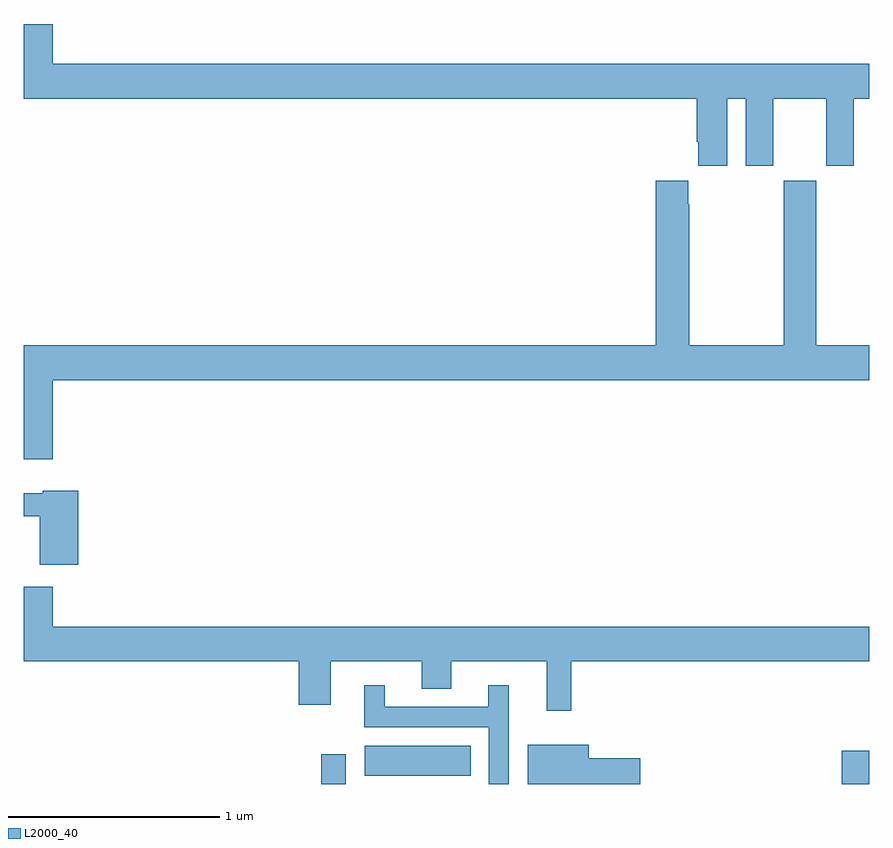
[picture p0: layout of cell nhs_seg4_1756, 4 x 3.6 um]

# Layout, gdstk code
import gdstk
lib = gdstk.Library(unit=1e-6, precision=1e-09)
def R(c, l, rs):  # rectangles x0, y0, x1, y1
    for r in rs: c.add(gdstk.rectangle(r[:2], r[2:], *l))
def P(c, l, *ps):  # polygons
    for p in ps: c.add(gdstk.Polygon(p, *l))
L2000_40 = (2000, 40)

nhs_seg4_1756 = lib.new_cell('nhs_seg4_1756')
R(nhs_seg4_1756, L2000_40, [(202.408,802.9,202.524,803.041), (204.87,802.9,205,803.058), (202.614,802.94,203.114,803.08)])
P(nhs_seg4_1756, L2000_40, [(204.328,806.144),(204.416,806.144),(204.416,805.827),(204.547,805.827),(204.547,806.144),(204.797,806.144),(204.797,805.827),(204.928,805.827),(204.928,806.144),(205,806.144),(205,806.308),(201.136,806.308),(201.136,806.497),(201,806.497),(201,806.144),(204.185,806.144),(204.185,805.939),(204.191,805.939),(204.191,805.827),(204.328,805.827)],
  [(205,804.976),(204.75,804.976),(204.75,805.756),(204.595,805.756),(204.595,804.976),(204.15,804.976),(204.15,805.643),(204.145,805.643),(204.145,805.756),(203.99,805.756),(203.99,804.976),(201,804.976),(201,804.438),(201.136,804.438),(201.136,804.812),(205,804.812)],
  [(201.257,804.289),(201.09,804.289),(201.09,804.277),(201,804.277),(201,804.168),(201.074,804.168),(201.074,803.937),(201.257,803.937)],
  [(203.591,803.48),(205,803.48),(205,803.644),(201.136,803.644),(201.136,803.833),(201,803.833),(201,803.48),(202.301,803.48),(202.301,803.274),(202.453,803.274),(202.453,803.48),(202.883,803.48),(202.883,803.35),(203.023,803.35),(203.023,803.48),(203.474,803.48),(203.474,803.247),(203.591,803.247)],
  [(203.295,803.368),(203.198,803.368),(203.198,803.265),(202.708,803.265),(202.708,803.368),(202.61,803.368),(202.61,803.169),(203.199,803.169),(203.199,802.9),(203.295,802.9)],
  [(203.917,803.022),(203.674,803.022),(203.674,803.086),(203.385,803.086),(203.385,802.9),(203.917,802.9)])

lib.write_gds('nhs_seg4_1756.gds')
